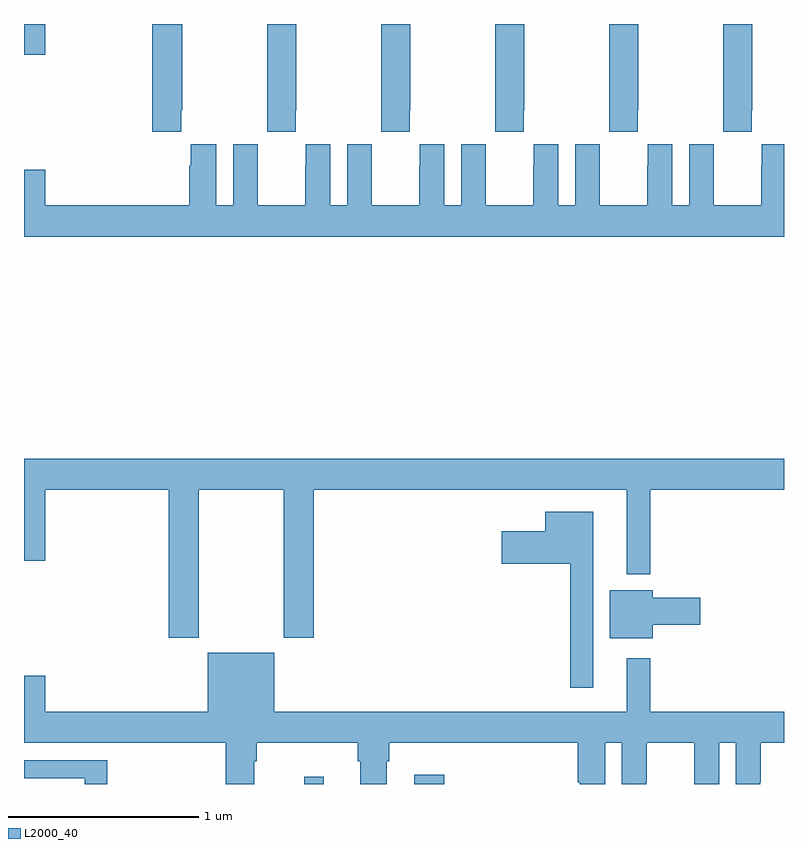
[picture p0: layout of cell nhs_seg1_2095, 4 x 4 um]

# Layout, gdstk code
import gdstk
lib = gdstk.Library(unit=1e-6, precision=1e-09)
def R(c, l, rs):  # rectangles x0, y0, x1, y1
    for r in rs: c.add(gdstk.rectangle(r[:2], r[2:], *l))
def P(c, l, *ps):  # polygons
    for p in ps: c.add(gdstk.Polygon(p, *l))
L2000_40 = (2000, 40)

nhs_seg1_2095 = lib.new_cell('nhs_seg1_2095')
R(nhs_seg1_2095, L2000_40, [(226.474,534.199,226.577,534.238), (227.054,534.199,227.213,534.247), (225,538.038,225.112,538.199)])
P(nhs_seg1_2095, L2000_40, [(227.631,537.745),(227.634,537.745),(227.634,538.199),(227.479,538.199),(227.479,537.745),(227.481,537.745),(227.481,537.633),(227.631,537.633)],
  [(227.031,537.745),(227.034,537.745),(227.034,538.199),(226.879,538.199),(226.879,537.745),(226.881,537.745),(226.881,537.633),(227.031,537.633)],
  [(226.431,537.745),(226.434,537.745),(226.434,538.199),(226.279,538.199),(226.279,537.745),(226.281,537.745),(226.281,537.633),(226.431,537.633)],
  [(225.827,537.745),(225.834,537.745),(225.834,538.199),(225.674,538.199),(225.674,537.633),(225.827,537.633)],
  [(228.831,537.745),(228.834,537.745),(228.834,538.199),(228.679,538.199),(228.679,537.745),(228.681,537.745),(228.681,537.633),(228.831,537.633)],
  [(228.231,537.745),(228.234,537.745),(228.234,538.199),(228.079,538.199),(228.079,537.745),(228.081,537.745),(228.081,537.633),(228.231,537.633)],
  [(229,537.565),(228.882,537.565),(228.882,537.452),(228.881,537.452),(228.881,537.244),(228.631,537.244),(228.631,537.452),(228.63,537.452),(228.63,537.565),(228.5,537.565),(228.5,537.244),(228.412,537.244),(228.412,537.565),(228.282,537.565),(228.282,537.452),(228.281,537.452),(228.281,537.244),(228.031,537.244),(228.031,537.452),(228.03,537.452),(228.03,537.565),(227.9,537.565),(227.9,537.244),(227.812,537.244),(227.812,537.565),(227.682,537.565),(227.682,537.452),(227.681,537.452),(227.681,537.244),(227.431,537.244),(227.431,537.452),(227.43,537.452),(227.43,537.565),(227.3,537.565),(227.3,537.244),(227.212,537.244),(227.212,537.565),(227.082,537.565),(227.082,537.452),(227.081,537.452),(227.081,537.244),(226.831,537.244),(226.831,537.452),(226.83,537.452),(226.83,537.565),(226.7,537.565),(226.7,537.244),(226.612,537.244),(226.612,537.565),(226.482,537.565),(226.482,537.452),(226.481,537.452),(226.481,537.244),(226.231,537.244),(226.231,537.452),(226.23,537.452),(226.23,537.565),(226.1,537.565),(226.1,537.244),(226.012,537.244),(226.012,537.565),(225.878,537.565),(225.878,537.452),(225.869,537.452),(225.869,537.244),(225.112,537.244),(225.112,537.433),(225,537.433),(225,537.08),(229,537.08)],
  [(225.921,535.748),(226.366,535.748),(226.366,534.969),(226.526,534.969),(226.526,535.748),(228.173,535.748),(228.173,535.304),(228.295,535.304),(228.295,535.748),(229,535.748),(229,535.912),(225,535.912),(225,535.374),(225.112,535.374),(225.112,535.748),(225.761,535.748),(225.761,534.969),(225.921,534.969)],
  [(227.995,535.633),(227.744,535.633),(227.744,535.528),(227.514,535.528),(227.514,535.358),(227.874,535.358),(227.874,534.705),(227.995,534.705)],
  [(228.31,535.036),(228.559,535.036),(228.559,535.178),(228.31,535.178),(228.31,535.219),(228.083,535.219),(228.083,534.965),(228.31,534.965)],
  [(225.968,534.58),(225.112,534.58),(225.112,534.769),(225,534.769),(225,534.416),(226.061,534.416),(226.061,534.199),(226.213,534.199),(226.213,534.32),(226.226,534.32),(226.226,534.416),(226.757,534.416),(226.757,534.32),(226.769,534.32),(226.769,534.199),(226.909,534.199),(226.909,534.32),(226.922,534.32),(226.922,534.416),(227.915,534.416),(227.915,534.208),(227.924,534.208),(227.924,534.199),(228.058,534.199),(228.058,534.416),(228.146,534.416),(228.146,534.199),(228.276,534.199),(228.276,534.208),(228.277,534.208),(228.277,534.416),(228.527,534.416),(228.527,534.208),(228.528,534.208),(228.528,534.199),(228.658,534.199),(228.658,534.416),(228.746,534.416),(228.746,534.199),(228.876,534.199),(228.876,534.208),(228.877,534.208),(228.877,534.416),(229,534.416),(229,534.58),(228.295,534.58),(228.295,534.862),(228.173,534.862),(228.173,534.58),(226.318,534.58),(226.318,534.889),(225.968,534.889)],
  [(225.437,534.324),(225,534.324),(225,534.228),(225.321,534.228),(225.321,534.199),(225.437,534.199)])

lib.write_gds('nhs_seg1_2095.gds')
